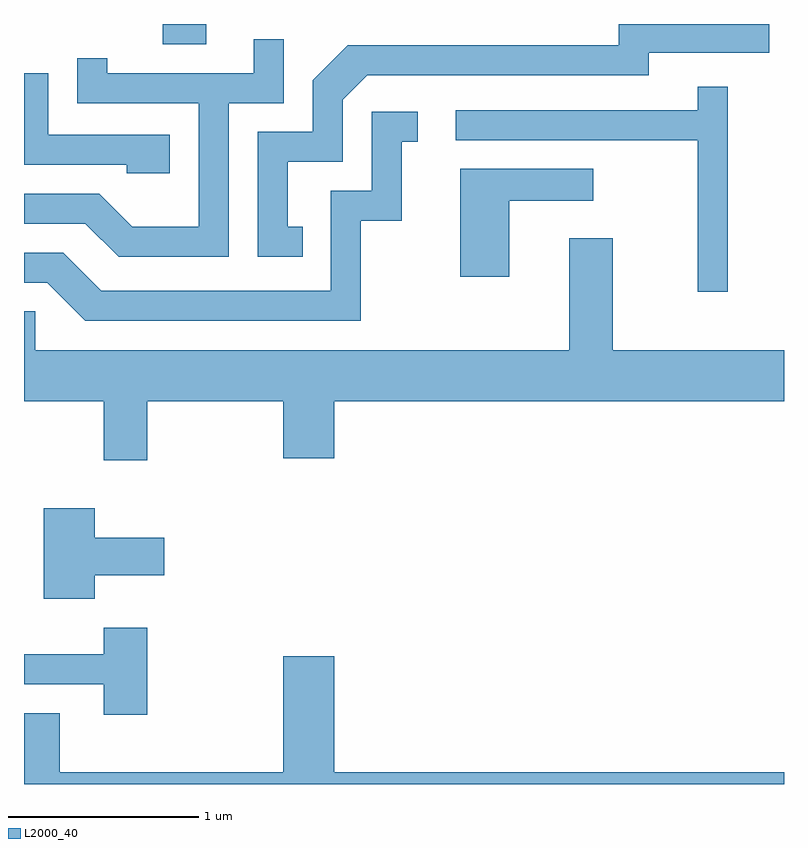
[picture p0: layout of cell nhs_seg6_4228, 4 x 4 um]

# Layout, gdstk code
import gdstk
lib = gdstk.Library(unit=1e-6, precision=1e-09)
def R(c, l, rs):  # rectangles x0, y0, x1, y1
    for r in rs: c.add(gdstk.rectangle(r[:2], r[2:], *l))
def P(c, l, *ps):  # polygons
    for p in ps: c.add(gdstk.Polygon(p, *l))
L2000_40 = (2000, 40)

nhs_seg6_4228 = lib.new_cell('nhs_seg6_4228')
R(nhs_seg6_4228, L2000_40, [(314.341,1634.056,314.569,1634.162)])
P(nhs_seg6_4228, L2000_40, [(315.078,1633.094),(314.999,1633.094),(314.999,1633.436),(315.289,1633.436),(315.289,1633.764),(315.417,1633.891),(316.899,1633.891),(316.899,1634.011),(317.533,1634.011),(317.533,1634.162),(316.741,1634.162),(316.741,1634.049),(315.314,1634.049),(315.131,1633.867),(315.131,1633.594),(314.841,1633.594),(314.841,1632.936),(315.078,1632.936)],
  [(314.689,1633.746),(314.979,1633.746),(314.979,1634.083),(314.821,1634.083),(314.821,1633.904),(314.049,1633.904),(314.049,1633.983),(313.891,1633.983),(313.891,1633.746),(314.531,1633.746),(314.531,1633.094),(314.182,1633.094),(314.007,1633.269),(313.611,1633.269),(313.611,1633.111),(313.934,1633.111),(314.109,1632.936),(314.689,1632.936)],
  [(314.379,1633.579),(313.739,1633.579),(313.739,1633.904),(313.611,1633.904),(313.611,1633.421),(314.151,1633.421),(314.151,1633.376),(314.379,1633.376)],
  [(317.314,1633.833),(317.156,1633.833),(317.156,1633.709),(315.883,1633.709),(315.883,1633.551),(317.156,1633.551),(317.156,1632.753),(317.314,1632.753)],
  [(315.384,1633.126),(315.599,1633.126),(315.599,1633.541),(315.683,1633.541),(315.683,1633.699),(315.441,1633.699),(315.441,1633.284),(315.226,1633.284),(315.226,1632.759),(314.017,1632.759),(313.817,1632.959),(313.611,1632.959),(313.611,1632.801),(313.734,1632.801),(313.934,1632.601),(315.384,1632.601)],
  [(316.164,1633.231),(316.608,1633.231),(316.608,1633.399),(315.906,1633.399),(315.906,1632.831),(316.164,1632.831)],
  [(314.259,1632.176),(314.976,1632.176),(314.976,1631.876),(315.244,1631.876),(315.244,1632.176),(317.611,1632.176),(317.611,1632.444),(316.709,1632.444),(316.709,1633.034),(316.481,1633.034),(316.481,1632.444),(313.669,1632.444),(313.669,1632.649),(313.611,1632.649),(313.611,1632.176),(314.031,1632.176),(314.031,1631.866),(314.259,1631.866)],
  [(313.984,1631.261),(314.349,1631.261),(314.349,1631.459),(313.984,1631.459),(313.984,1631.614),(313.716,1631.614),(313.716,1631.136),(313.984,1631.136)],
  [(314.259,1630.984),(314.031,1630.984),(314.031,1630.844),(313.611,1630.844),(313.611,1630.686),(314.031,1630.686),(314.031,1630.526),(314.259,1630.526)],
  [(317.611,1630.224),(315.244,1630.224),(315.244,1630.834),(314.976,1630.834),(314.976,1630.224),(313.799,1630.224),(313.799,1630.534),(313.611,1630.534),(313.611,1630.162),(317.611,1630.162)])

lib.write_gds('nhs_seg6_4228.gds')
